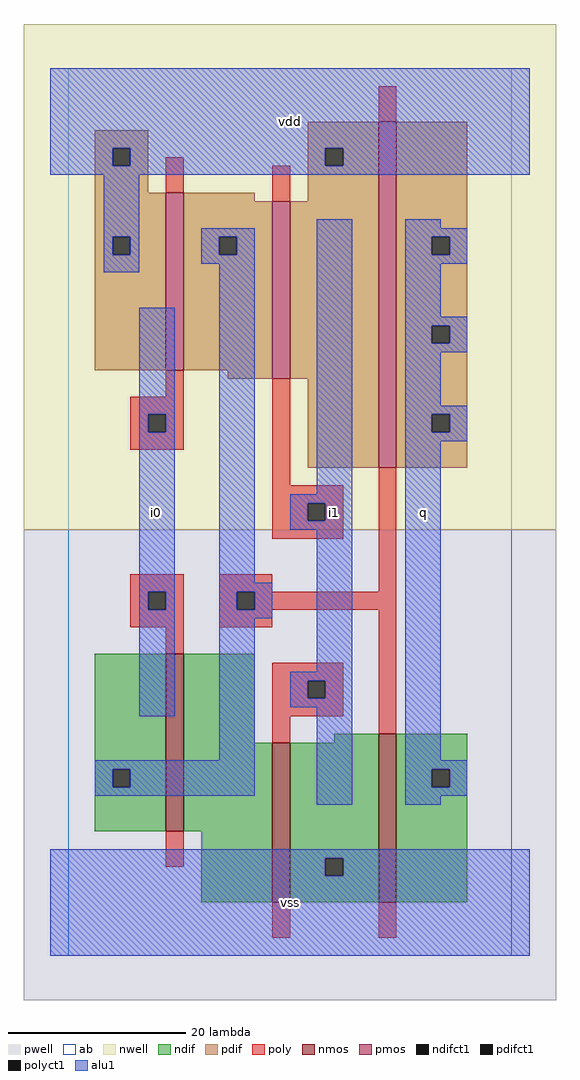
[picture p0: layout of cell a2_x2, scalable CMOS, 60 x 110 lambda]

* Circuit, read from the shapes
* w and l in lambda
.subckt a2_x2 i0 i1 q vdd vss
M1 n1 i0 n2 VSUBS nfet w=20 l=2
M2 vss i1 n1 VSUBS nfet w=18 l=2
M3 q n2 vss VSUBS nfet w=19 l=2
M4 n2 i0 vdd n3 pfet w=20 l=2
M5 vdd i1 n2 n3 pfet w=20 l=2
M6 q n2 vdd n3 pfet w=39 l=2
.ends

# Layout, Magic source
magic
tech scmos
<< ab >>
rect 0 0 50 100
<< nwell >>
rect -5 48 55 105
<< pwell >>
rect -5 -5 55 48
<< poly >>
rect 35 94 37 98
rect 11 86 13 90
rect 23 85 25 89
rect 11 63 13 66
rect 7 61 13 63
rect 7 59 9 61
rect 11 59 13 61
rect 7 57 13 59
rect 23 53 25 65
rect 23 51 31 53
rect 23 49 27 51
rect 29 49 31 51
rect 23 47 31 49
rect 7 41 13 43
rect 7 39 9 41
rect 11 39 13 41
rect 7 37 13 39
rect 17 41 23 43
rect 35 41 37 55
rect 17 39 19 41
rect 21 39 37 41
rect 17 37 23 39
rect 11 34 13 37
rect 23 31 31 33
rect 23 29 27 31
rect 29 29 31 31
rect 23 27 31 29
rect 23 24 25 27
rect 35 25 37 39
rect 11 10 13 14
rect 23 2 25 6
rect 35 2 37 6
<< ndif >>
rect 3 21 11 34
rect 3 19 5 21
rect 7 19 11 21
rect 3 14 11 19
rect 13 24 21 34
rect 30 24 35 25
rect 13 14 23 24
rect 15 6 23 14
rect 25 11 35 24
rect 25 9 29 11
rect 31 9 35 11
rect 25 6 35 9
rect 37 21 45 25
rect 37 19 41 21
rect 43 19 45 21
rect 37 6 45 19
<< pdif >>
rect 3 91 9 93
rect 3 89 5 91
rect 7 89 9 91
rect 27 91 35 94
rect 3 86 9 89
rect 27 89 29 91
rect 31 89 35 91
rect 3 81 11 86
rect 3 79 5 81
rect 7 79 11 81
rect 3 66 11 79
rect 13 85 21 86
rect 27 85 35 89
rect 13 81 23 85
rect 13 79 17 81
rect 19 79 23 81
rect 13 66 23 79
rect 18 65 23 66
rect 25 65 35 85
rect 27 55 35 65
rect 37 81 45 94
rect 37 79 41 81
rect 43 79 45 81
rect 37 71 45 79
rect 37 69 41 71
rect 43 69 45 71
rect 37 61 45 69
rect 37 59 41 61
rect 43 59 45 61
rect 37 55 45 59
<< alu1 >>
rect -2 91 52 100
rect -2 89 5 91
rect 7 89 29 91
rect 31 89 52 91
rect -2 88 52 89
rect 4 81 8 88
rect 4 79 5 81
rect 7 79 8 81
rect 4 77 8 79
rect 15 81 21 82
rect 15 79 17 81
rect 19 79 21 81
rect 15 78 21 79
rect 8 61 12 73
rect 8 59 9 61
rect 11 59 12 61
rect 8 41 12 59
rect 8 39 9 41
rect 11 39 12 41
rect 8 27 12 39
rect 17 42 21 78
rect 28 52 32 83
rect 25 51 32 52
rect 25 49 27 51
rect 29 49 32 51
rect 25 48 32 49
rect 17 41 23 42
rect 17 39 19 41
rect 21 39 23 41
rect 17 38 23 39
rect 17 22 21 38
rect 28 32 32 48
rect 25 31 32 32
rect 25 29 27 31
rect 29 29 32 31
rect 25 28 32 29
rect 3 21 21 22
rect 3 19 5 21
rect 7 19 21 21
rect 3 18 21 19
rect 28 17 32 28
rect 38 82 42 83
rect 38 81 45 82
rect 38 79 41 81
rect 43 79 45 81
rect 38 78 45 79
rect 38 72 42 78
rect 38 71 45 72
rect 38 69 41 71
rect 43 69 45 71
rect 38 68 45 69
rect 38 62 42 68
rect 38 61 45 62
rect 38 59 41 61
rect 43 59 45 61
rect 38 58 45 59
rect 38 22 42 58
rect 38 21 45 22
rect 38 19 41 21
rect 43 19 45 21
rect 38 18 45 19
rect 38 17 42 18
rect -2 11 52 12
rect -2 9 29 11
rect 31 9 52 11
rect -2 0 52 9
<< nmos >>
rect 11 14 13 34
rect 23 6 25 24
rect 35 6 37 25
<< pmos >>
rect 11 66 13 86
rect 23 65 25 85
rect 35 55 37 94
<< polyct1 >>
rect 9 59 11 61
rect 27 49 29 51
rect 9 39 11 41
rect 19 39 21 41
rect 27 29 29 31
<< ndifct1 >>
rect 5 19 7 21
rect 29 9 31 11
rect 41 19 43 21
<< pdifct1 >>
rect 5 89 7 91
rect 29 89 31 91
rect 5 79 7 81
rect 17 79 19 81
rect 41 79 43 81
rect 41 69 43 71
rect 41 59 43 61
<< labels >>
rlabel alu1 10 50 10 50 6 i0
rlabel alu1 25 6 25 6 6 vss
rlabel alu1 30 50 30 50 6 i1
rlabel alu1 25 94 25 94 6 vdd
rlabel alu1 40 50 40 50 6 q
<< end >>
